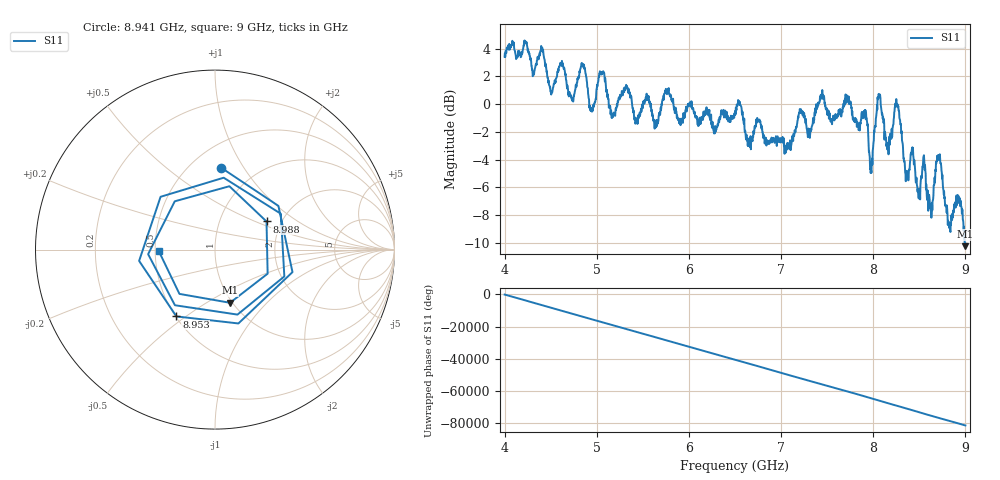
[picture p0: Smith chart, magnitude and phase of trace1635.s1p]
! Created with skrf 1.8.0 (http://scikit-rf.org).
# Hz S RI R 50.0
!freq ReS11 ImS11
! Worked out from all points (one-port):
!   1601 points, 4 GHz to 9 GHz, reference 50 ohm
!   lowest |S11| = -10.2 dB at 8.994 GHz (marker M1), VSWR 1.89, Z = 48.8 - j32 ohm
!   |S11| at or under -10 dB: 8.992279 GHz to 8.996916 GHz (4.637 MHz wide, 0.0516 % of centre); 8.99736 GHz to end of sweep
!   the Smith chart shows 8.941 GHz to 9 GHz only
!   S11 on the Smith chart (normalised r, x): 8.941 GHz: 0.69, +0.80; 8.953 GHz: 0.50, -0.46; 8.988 GHz: 1.68, +0.59; 9 GHz: 0.52, -0.01
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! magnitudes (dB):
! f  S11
! 4 GHz  3.4
! 4.506 GHz  0.7
! 4.625 GHz  2.7
! 4.731 GHz  0.4
! 4.853 GHz  2.7
! 4.944 GHz  -0.4
! 5.053 GHz  2.1
! 5.175 GHz  -0.9
! 5.25 GHz  0.5
! 5.875 GHz  -0.9
! 6.5 GHz  -0.6
! 7.125 GHz  -2.6
! 7.75 GHz  0.0
! 7.916 GHz  -0.4
! 7.975 GHz  -4.8
! 8.059 GHz  0.7
! 8.156 GHz  -2.9
! 8.256 GHz  0.1
! 8.375 GHz  -5.2
! 8.544 GHz  -3.8
! 8.622 GHz  -7.3
! 8.709 GHz  -3.8
! 8.819 GHz  -8.7
! 8.941 GHz  -6.8
! 8.953 GHz  -7.3
! 8.988 GHz  -9.7
! 8.994 GHz  -10.2
! 9 GHz  -10.0
